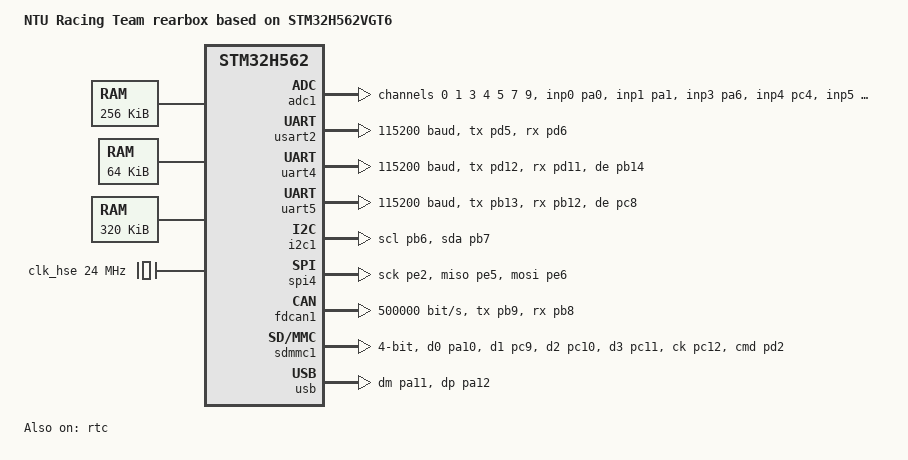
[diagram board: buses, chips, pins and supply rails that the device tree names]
/dts-v1/;
#include <mem.h>
#include <st/h5/stm32h562.dtsi>
#include <st/h5/stm32h562vgtx-pinctrl.dtsi>

/ {
    model = "NTU Racing Team rearbox based on STM32H562VGT6";
    compatible = "nturt,rearbox";

    chosen {
        zephyr,console = &usart2;
        zephyr,shell-uart = &usart2;
        zephyr,sram = &sram1;
        zephyr,flash = &flash0;
        zephyr,canbus = &fdcan1;
        zephyr,code-partition = &slot0_partition;
    };

    sram1: memory@20000000 {
        compatible = "zephyr,memory-region", "mmio-sram";
        reg = <0x20000000 DT_SIZE_K(256)>;
        zephyr,memory-region = "SRAM1";
    };

    sram2: memory@20040000 {
        compatible = "zephyr,memory-region", "mmio-sram";
        reg = <0x20040000 DT_SIZE_K(64)>;
        zephyr,memory-region = "SRAM2";
    };

    sram3: memory@20050000 {
        compatible = "zephyr,memory-region", "mmio-sram";
        reg = <0x20050000 DT_SIZE_K(320)>;
        zephyr,memory-region = "SRAM3";
    };

    soc {
        flash-controller@40022000 {
            flash0: flash@8000000 {
                reg = <0x08000000 DT_SIZE_M(1)>;
            };
        };
    };
};

&flash0 {
    partitions {
        compatible = "fixed-partitions";
        #address-cells = <1>;
        #size-cells = <1>;

        boot_partition: partition@0 {
            label = "mcuboot";
            reg = <0x00000000 DT_SIZE_K(64)>;
        };

        slot0_partition: partition@10000 {
            label = "image-0";
            reg = <0x00010000 DT_SIZE_K(448)>;
        };

        slot1_partition: partition@80000 {
            label = "image-1";
            reg = <0x00080000 DT_SIZE_K(448)>;
        };

        storage_partition: partition@f0000 {
            label = "storage";
            reg = <0x000f0000 DT_SIZE_K(64)>;
        };
    };
};

&clk_hse {
    clock-frequency = <DT_FREQ_M(24)>;
    status = "okay";
};

&clk_hsi {
    status = "okay";
};

&clk_hsi48 {
    status = "okay";
};

&clk_csi {
    status = "okay";
};

&clk_lse {
    status = "okay";
};

&clk_lsi {
    status = "okay";
};

&pll1 {
    div-m = <6>;
    mul-n = <125>;
    div-p = <2>;
    div-q = <2>;
    div-r = <2>;
    clocks = <&clk_hse>;
    status = "okay";
};

&pll2 {
    div-m = <6>;
    mul-n = <120>;
    div-p = <2>;
    div-q = <2>;
    div-r = <10>;
    clocks = <&clk_hse>;
    status = "okay";
};

&pll3 {
    div-m = <6>;
    mul-n = <60>;
    div-p = <2>;
    div-q = <5>;
    div-r = <5>;
    clocks = <&clk_hse>;
    status = "okay";
};

&rcc {
    clocks = <&pll1>;
    clock-frequency = <DT_FREQ_M(250)>;
    ahb-prescaler = <1>;
    apb1-prescaler = <1>;
    apb2-prescaler = <1>;
    apb3-prescaler = <1>;
};

&rtc {
    clocks = <&rcc STM32_CLOCK_BUS_APB3 0x00200000>,
             <&rcc STM32_SRC_LSE RTC_SEL(1)>;
    status = "okay";
};

&adc1 {
    pinctrl-0 = <&adc1_inp0_pa0 &adc1_inp1_pa1 &adc1_inp3_pa6 &adc1_inp4_pc4
                 &adc1_inp5_pb1 &adc1_inp7_pa7 &adc1_inp9_pb0>;
    pinctrl-names = "default";
    st,adc-clock-source = <SYNC>;
    st,adc-prescaler = <4>;
    #address-cells = <1>;
    #size-cells = <0>;
    status = "okay";

    channel@0 {
        reg = <0>;
        zephyr,gain = "ADC_GAIN_1";
        zephyr,reference = "ADC_REF_INTERNAL";
        zephyr,acquisition-time = <ADC_ACQ_TIME(ADC_ACQ_TIME_TICKS, 248)>;
        zephyr,resolution = <12>;
    };

    channel@1 {
        reg = <1>;
        zephyr,gain = "ADC_GAIN_1";
        zephyr,reference = "ADC_REF_INTERNAL";
        zephyr,acquisition-time = <ADC_ACQ_TIME(ADC_ACQ_TIME_TICKS, 248)>;
        zephyr,resolution = <12>;
    };

    channel@3 {
        reg = <3>;
        zephyr,gain = "ADC_GAIN_1";
        zephyr,reference = "ADC_REF_INTERNAL";
        zephyr,acquisition-time = <ADC_ACQ_TIME(ADC_ACQ_TIME_TICKS, 248)>;
        zephyr,resolution = <12>;
    };

    channel@4 {
        reg = <4>;
        zephyr,gain = "ADC_GAIN_1";
        zephyr,reference = "ADC_REF_INTERNAL";
        zephyr,acquisition-time = <ADC_ACQ_TIME(ADC_ACQ_TIME_TICKS, 248)>;
        zephyr,resolution = <12>;
    };

    channel@5 {
        reg = <5>;
        zephyr,gain = "ADC_GAIN_1";
        zephyr,reference = "ADC_REF_INTERNAL";
        zephyr,acquisition-time = <ADC_ACQ_TIME(ADC_ACQ_TIME_TICKS, 248)>;
        zephyr,resolution = <12>;
    };

    channel@7 {
        reg = <7>;
        zephyr,gain = "ADC_GAIN_1";
        zephyr,reference = "ADC_REF_INTERNAL";
        zephyr,acquisition-time = <ADC_ACQ_TIME(ADC_ACQ_TIME_TICKS, 248)>;
        zephyr,resolution = <12>;
    };

    channel@9 {
        reg = <9>;
        zephyr,gain = "ADC_GAIN_1";
        zephyr,reference = "ADC_REF_INTERNAL";
        zephyr,acquisition-time = <ADC_ACQ_TIME(ADC_ACQ_TIME_TICKS, 248)>;
        zephyr,resolution = <12>;
    };
};

&usart2 {
    pinctrl-0 = <&usart2_tx_pd5 &usart2_rx_pd6>;
    pinctrl-names = "default";
    current-speed = <115200>;
    status = "okay";
};

&uart4 {
    pinctrl-0 = <&uart4_tx_pd12 &uart4_rx_pd11 &uart4_de_pb14>;
    pinctrl-names = "default";
    current-speed = <115200>;
    de-enable;
    status = "okay";
};

&uart5 {
    pinctrl-0 = <&uart5_tx_pb13 &uart5_rx_pb12 &uart5_de_pc8>;
    pinctrl-names = "default";
    current-speed = <115200>;
    de-enable;
    status = "okay";
};

&i2c1 {
    clocks = <&rcc STM32_CLOCK_BUS_APB1 0x00200000>,
             <&rcc STM32_SRC_PLL3_R I2C1_SEL(1)>;
    pinctrl-0 = <&i2c1_scl_pb6 &i2c1_sda_pb7>;
    pinctrl-names = "default";
    status = "okay";
};

&spi4 {
    pinctrl-0 = <&spi4_sck_pe2 &spi4_miso_pe5 &spi4_mosi_pe6>;
    pinctrl-names = "default";
    cs-gpios = <&gpioe 4 (GPIO_ACTIVE_LOW | GPIO_PULL_UP)>;
    status = "okay";
};

&fdcan1 {
    clocks = <&rcc STM32_CLOCK_BUS_APB1_2 0x00000200>,
             <&rcc STM32_SRC_HSE FDCAN_SEL(0)>;
    pinctrl-0 = <&fdcan1_tx_pb9 &fdcan1_rx_pb8>;
    pinctrl-names = "default";
    bitrate = <500000>;
    sample-point = <800>;
    bitrate-data = <500000>;
    sample-point-data = <800>;
    status = "okay";
};

&sdmmc1 {
    clocks = <&rcc STM32_CLOCK_BUS_AHB4 0x00000800>,
             <&rcc STM32_SRC_PLL2_R SDMMC1_SEL(1)>;
    pinctrl-0 = <&sdmmc1_d0_pa10 &sdmmc1_d1_pc9 &sdmmc1_d2_pc10 &sdmmc1_d3_pc11
                 &sdmmc1_ck_pc12 &sdmmc1_cmd_pd2>;
    pinctrl-names = "default";
    bus-width = <4>;
    idma;
    status = "okay";

    // stm32 sdmmc driver already registers sdmmc as disk
    // mmc {
    //     compatible = "zephyr,sdmmc-disk";
    //     disk-name = "SD";
    // };
};

zephyr_udc0: &usb {
    clocks = <&rcc STM32_CLOCK_BUS_APB2 0x01000000>,
             <&rcc STM32_SRC_PLL3_Q USB_SEL(2)>;
    pinctrl-0 = <&usb_dm_pa11 &usb_dp_pa12>;
    pinctrl-names = "default";
    status = "okay";
};
